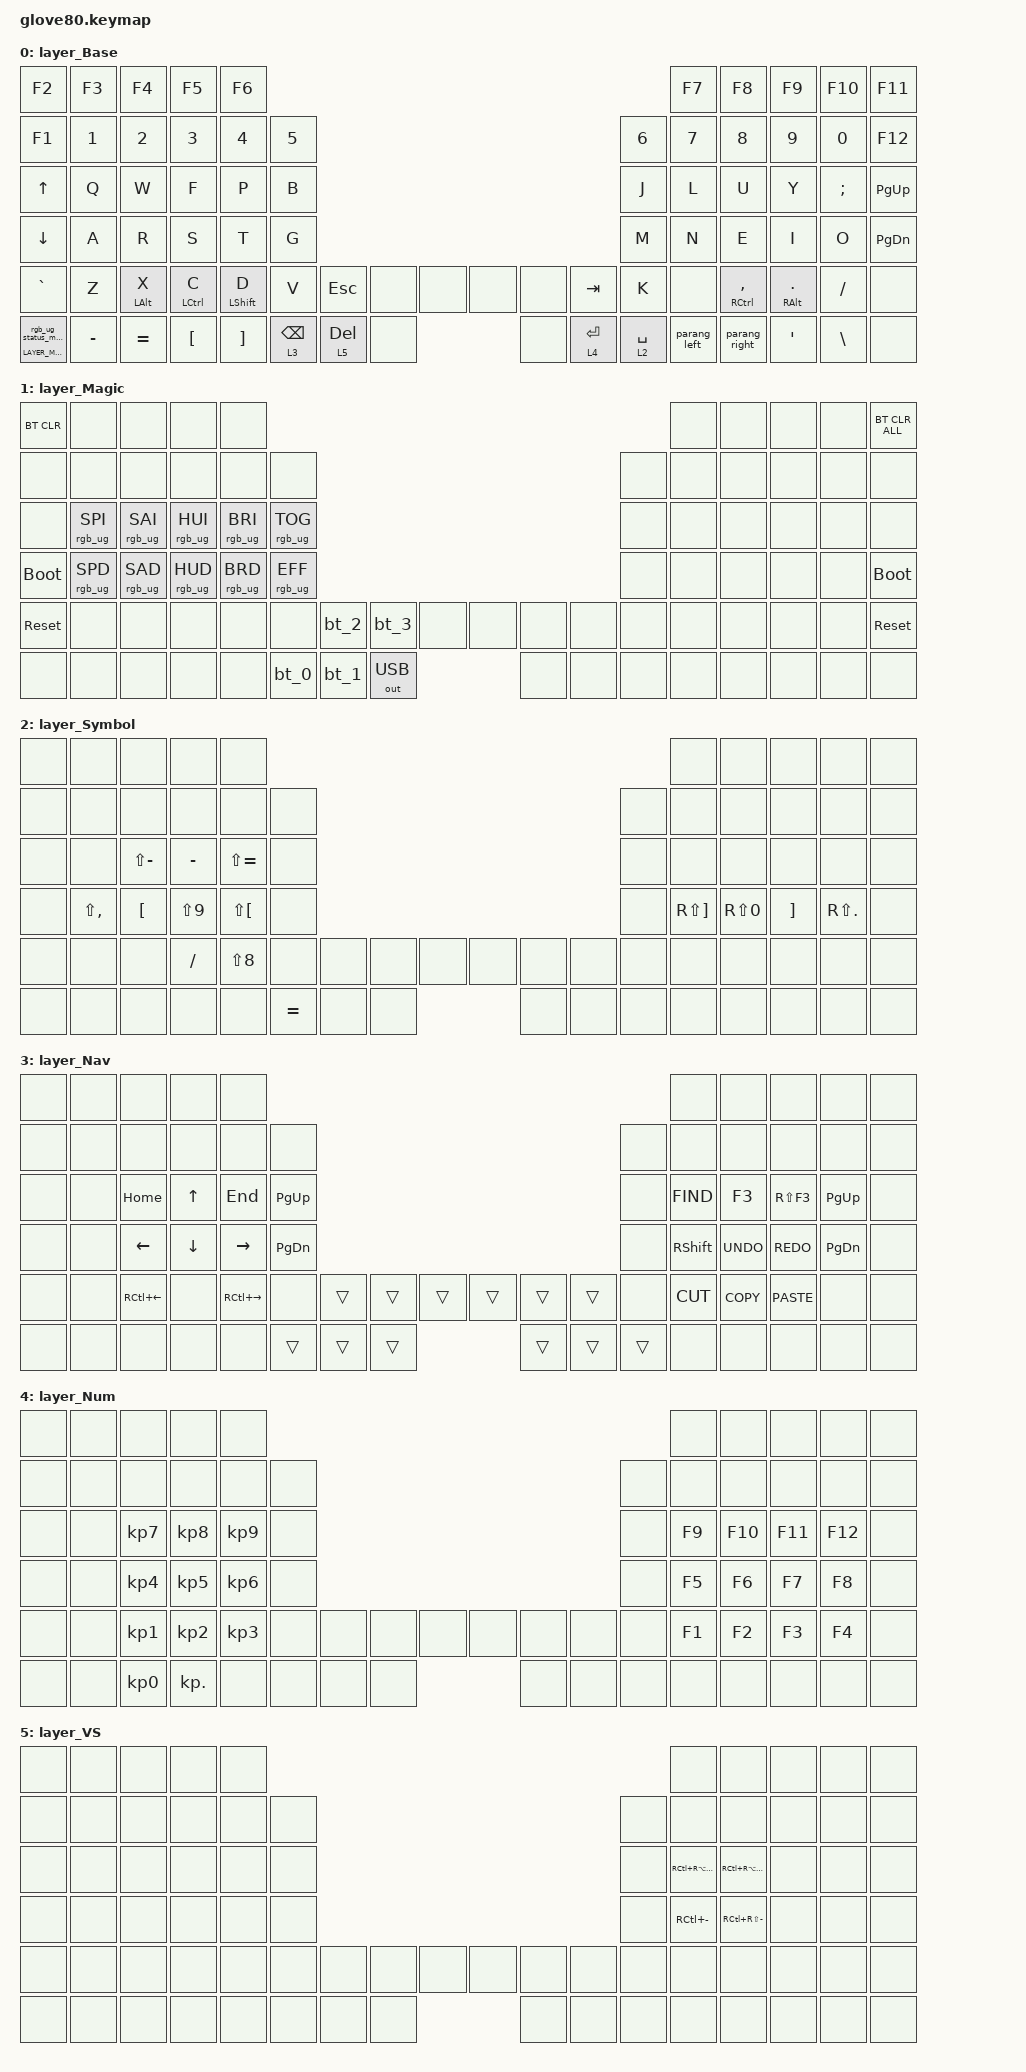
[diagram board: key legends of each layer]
/*
 * Copyright (c) 2020 The ZMK Contributors
 * Copyright (c) 2025 Innaworks Development Limited, trading as MoErgo
 *
 * SPDX-License-Identifier: MIT
 */


/* THIS FILE WAS GENERATED BY GLOVE80 LAYOUT EDITOR
 *
 * This file was generated automatically. You may or may not want to
 * edit it directly.
 */

 #include <behaviors.dtsi>
 /* Include all behavior includes needed */
 #include <dt-bindings/zmk/outputs.h>
 #include <dt-bindings/zmk/keys.h>
 #include <dt-bindings/zmk/bt.h>
 #include <dt-bindings/zmk/rgb.h>
 
 /* On demand includes */
 
 
 /* Automatically generated layer name #define */
 #define LAYER_Base 0
 #define LAYER_Magic 1
 #define LAYER_Symbol 2
 #define LAYER_Nav 3
 #define LAYER_Num 4
 #define LAYER_VS 5
 
 /* To deal with the situation where there is no Lower layer, to keep &lower happy */
 #ifndef LAYER_Lower
 #define LAYER_Lower 0
 #endif
 
 /* Custom Device-tree */
 
 
 /* Input Listeners */
 
 
 /* System behavior and Macros */
 / {
     behaviors {
         // For the "layer" key, it'd nice to be able to use it as either a shift or a toggle.
         // Configure it as a tap dance, so the first tap (or hold) is a &mo and the second tap is a &to
         lower: lower {
             compatible = "zmk,behavior-tap-dance";
             label = "LAYER_TAP_DANCE";
             #binding-cells = <0>;
             tapping-term-ms = <200>;
             bindings = <&mo LAYER_Lower>, <&to LAYER_Lower>;
         };
     };
 };
 
 / {
     macros {
         rgb_ug_status_macro: rgb_ug_status_macro {
             label = "RGB_UG_STATUS";
             compatible = "zmk,behavior-macro";
             #binding-cells = <0>;
             bindings
                 = <&rgb_ug RGB_STATUS>;
         };
     };
 };
 
 
 / {
 #ifdef BT_DISC_CMD
     behaviors {
         bt_0: bt_0 {
             compatible = "zmk,behavior-tap-dance";
             label = "BT_0";
             #binding-cells = <0>;
             tapping-term-ms = <200>;
             bindings = <&bt_select_0>, <&bt BT_DISC 0>;
         };
         bt_1: bt_1 {
             compatible = "zmk,behavior-tap-dance";
             label = "BT_1";
             #binding-cells = <0>;
             tapping-term-ms = <200>;
             bindings = <&bt_select_1>, <&bt BT_DISC 1>;
         };
         bt_2: bt_2 {
             compatible = "zmk,behavior-tap-dance";
             label = "BT_2";
             #binding-cells = <0>;
             tapping-term-ms = <200>;
             bindings = <&bt_select_2>, <&bt BT_DISC 2>;
         };
         bt_3: bt_3 {
             compatible = "zmk,behavior-tap-dance";
             label = "BT_3";
             #binding-cells = <0>;
             tapping-term-ms = <200>;
             bindings = <&bt_select_3>, <&bt BT_DISC 3>;
         };
     };
     macros {
         bt_select_0: bt_select_0 {
             label = "BT_SELECT_0";
             compatible = "zmk,behavior-macro";
             #binding-cells = <0>;
             bindings
                 = <&out OUT_BLE>,
                   <&bt BT_SEL 0>;
         };
         bt_select_1: bt_select_1 {
             label = "BT_SELECT_1";
             compatible = "zmk,behavior-macro";
             #binding-cells = <0>;
             bindings
                 = <&out OUT_BLE>,
                   <&bt BT_SEL 1>;
         };
         bt_select_2: bt_select_2 {
             label = "BT_SELECT_2";
             compatible = "zmk,behavior-macro";
             #binding-cells = <0>;
             bindings
                 = <&out OUT_BLE>,
                   <&bt BT_SEL 2>;
         };
         bt_select_3: bt_select_3 {
             label = "BT_SELECT_3";
             compatible = "zmk,behavior-macro";
             #binding-cells = <0>;
             bindings
                 = <&out OUT_BLE>,
                   <&bt BT_SEL 3>;
         };
     };
 #else
     macros {
         bt_0: bt_0 {
             label = "BT_0";
             compatible = "zmk,behavior-macro";
             #binding-cells = <0>;
             bindings
                 = <&out OUT_BLE>,
                   <&bt BT_SEL 0>;
         };
         bt_1: bt_1 {
             label = "BT_1";
             compatible = "zmk,behavior-macro";
             #binding-cells = <0>;
             bindings
                 = <&out OUT_BLE>,
                   <&bt BT_SEL 1>;
         };
         bt_2: bt_2 {
             label = "BT_2";
             compatible = "zmk,behavior-macro";
             #binding-cells = <0>;
             bindings
                 = <&out OUT_BLE>,
                   <&bt BT_SEL 2>;
         };
         bt_3: bt_3 {
             label = "BT_3";
             compatible = "zmk,behavior-macro";
             #binding-cells = <0>;
             bindings
                 = <&out OUT_BLE>,
                   <&bt BT_SEL 3>;
         };
     };
 #endif
 };
 
 / {
     behaviors {
         magic: magic {
             compatible = "zmk,behavior-hold-tap";
             label = "MAGIC_HOLD_TAP";
             #binding-cells = <2>;
             flavor = "tap-preferred";
             tapping-term-ms = <200>;
             bindings = <&mo>, <&rgb_ug_status_macro>;
         };
     };
 };
 
 /* #define for key positions */
 #define POS_LH_T1 52
 #define POS_LH_T2 53
 #define POS_LH_T3 54
 #define POS_LH_T4 69
 #define POS_LH_T5 70
 #define POS_LH_T6 71
 #define POS_LH_C1R2 15
 #define POS_LH_C1R3 27
 #define POS_LH_C1R4 39
 #define POS_LH_C1R5 51
 #define POS_LH_C2R1 4
 #define POS_LH_C2R2 14
 #define POS_LH_C2R3 26
 #define POS_LH_C2R4 38
 #define POS_LH_C2R5 50
 #define POS_LH_C2R6 68
 #define POS_LH_C3R1 3
 #define POS_LH_C3R2 13
 #define POS_LH_C3R3 25
 #define POS_LH_C3R4 37
 #define POS_LH_C3R5 49
 #define POS_LH_C3R6 67
 #define POS_LH_C4R1 2
 #define POS_LH_C4R2 12
 #define POS_LH_C4R3 24
 #define POS_LH_C4R4 36
 #define POS_LH_C4R5 48
 #define POS_LH_C4R6 66
 #define POS_LH_C5R1 1
 #define POS_LH_C5R2 11
 #define POS_LH_C5R3 23
 #define POS_LH_C5R4 35
 #define POS_LH_C5R5 47
 #define POS_LH_C5R6 65
 #define POS_LH_C6R1 0
 #define POS_LH_C6R2 10
 #define POS_LH_C6R3 22
 #define POS_LH_C6R4 34
 #define POS_LH_C6R5 46
 #define POS_LH_C6R6 64

#define POS_RH_T1 57
 #define POS_RH_T2 56
 #define POS_RH_T3 55
 #define POS_RH_T4 74
 #define POS_RH_T5 73
 #define POS_RH_T6 72
 #define POS_RH_C1R2 16
 #define POS_RH_C1R3 28
 #define POS_RH_C1R4 40
 #define POS_RH_C1R5 58
 #define POS_RH_C2R1 5
 #define POS_RH_C2R2 17
 #define POS_RH_C2R3 29
 #define POS_RH_C2R4 41
 #define POS_RH_C2R5 59
 #define POS_RH_C2R6 75
 #define POS_RH_C3R1 6
 #define POS_RH_C3R2 18
 #define POS_RH_C3R3 30
 #define POS_RH_C3R4 42
 #define POS_RH_C3R5 60
 #define POS_RH_C3R6 76
 #define POS_RH_C4R1 7
 #define POS_RH_C4R2 19
 #define POS_RH_C4R3 31
 #define POS_RH_C4R4 43
 #define POS_RH_C4R5 61
 #define POS_RH_C4R6 77
 #define POS_RH_C5R1 8
 #define POS_RH_C5R2 20
 #define POS_RH_C5R3 32
 #define POS_RH_C5R4 44
 #define POS_RH_C5R5 62
 #define POS_RH_C5R6 78
 #define POS_RH_C6R1 9
 #define POS_RH_C6R2 21
 #define POS_RH_C6R3 33
 #define POS_RH_C6R4 45
 #define POS_RH_C6R5 63
 #define POS_RH_C6R6 79

 #define KEYS_LEFT POS_LH_T1 POS_LH_T2 POS_LH_T3 POS_LH_T4 POS_LH_T5 POS_LH_T6 POS_LH_C1R2 POS_LH_C1R3 POS_LH_C1R4 POS_LH_C1R5 POS_LH_C2R1 POS_LH_C2R2 POS_LH_C2R3 POS_LH_C2R4 POS_LH_C2R5 POS_LH_C2R6 POS_LH_C3R1 POS_LH_C3R2 POS_LH_C3R3 POS_LH_C3R4 POS_LH_C3R5 POS_LH_C3R6 POS_LH_C4R1 POS_LH_C4R2 POS_LH_C4R3 POS_LH_C4R4 POS_LH_C4R5 POS_LH_C4R6 POS_LH_C5R1 POS_LH_C5R2 POS_LH_C5R3 POS_LH_C5R4 POS_LH_C5R5 POS_LH_C5R6 POS_LH_C6R1 POS_LH_C6R2 POS_LH_C6R3 POS_LH_C6R4 POS_LH_C6R5 POS_LH_C6R6 
 #define KEYS_RIGHT POS_RH_T1 POS_RH_T2 POS_RH_T3 POS_RH_T4 POS_RH_T5 POS_RH_T6 POS_RH_C1R2 POS_RH_C1R3 POS_RH_C1R4 POS_RH_C1R5 POS_RH_C2R1 POS_RH_C2R2 POS_RH_C2R3 POS_RH_C2R4 POS_RH_C2R5 POS_RH_C2R6 POS_RH_C3R1 POS_RH_C3R2 POS_RH_C3R3 POS_RH_C3R4 POS_RH_C3R5 POS_RH_C3R6 POS_RH_C4R1 POS_RH_C4R2 POS_RH_C4R3 POS_RH_C4R4 POS_RH_C4R5 POS_RH_C4R6 POS_RH_C5R1 POS_RH_C5R2 POS_RH_C5R3 POS_RH_C5R4 POS_RH_C5R5 POS_RH_C5R6 POS_RH_C6R1 POS_RH_C6R2 POS_RH_C6R3 POS_RH_C6R4 POS_RH_C6R5 POS_RH_C6R6  

 
 /* Custom Defined Behaviors */
 / {
 behaviors {
    hml: home_row_mod_left {
        compatible = "zmk,behavior-hold-tap";
        #binding-cells = <2>;
        flavor = "balanced";
        require-prior-idle-ms = <150>;
        tapping-term-ms = <280>;
        quick-tap-ms = <175>;
        bindings = <&kp>, <&kp>;
        hold-trigger-key-positions = < KEYS_RIGHT >; // List of keys on the right side of the keyboard
        hold-trigger-on-release;
    };

    hmr: home_row_mod_right {
        compatible = "zmk,behavior-hold-tap";
        #binding-cells = <2>;
        flavor = "balanced";
        require-prior-idle-ms = <150>;
        tapping-term-ms = <280>;
        quick-tap-ms = <175>;
        bindings = <&kp>, <&kp>;
        hold-trigger-key-positions = < KEYS_LEFT >; // List of keys on the right side of the keyboard
        hold-trigger-on-release;
    };

   //
   // Shift + LEFT_PARENTHESIS = LESS_THAN
   //
   parang_left: left_parenthesis_and_less_than {
     compatible = "zmk,behavior-mod-morph";
     #binding-cells = <0>;
     bindings = <&kp LPAR>, <&kp LT>;
     mods = <(MOD_LSFT|MOD_RSFT)>;
   };
 
   //
   // Shift + RIGHT_PARENTHESIS = GREATER_THAN
   //
   parang_right: right_parenthesis_and_greater_than {
     compatible = "zmk,behavior-mod-morph";
     #binding-cells = <0>;
     bindings = <&kp RPAR>, <&kp GT>;
     mods = <(MOD_LSFT|MOD_RSFT)>;
   };
 };
 };
 
 /* Automatically generated macro definitions */
 / {
     macros {
 
     };
 };
 
 /* Automatically generated behavior definitions */
 / {
     behaviors {
 
     };
 };
 
 /* Automatically generated combos definitions */
 
 
 /* Automatically generated keymap */
 / {
     keymap {
         compatible = "zmk,keymap";
 
 
         layer_Base {
             bindings = <
                &kp F2     &kp F3      &kp F4       &kp F5       &kp F6                                                                                       &kp F7           &kp F8        &kp F9   &kp F10    &kp F11
                &kp F1     &kp N1      &kp N2       &kp N3       &kp N4  &kp N5                                                                 &kp N6        &kp N7           &kp N8        &kp N9    &kp N0    &kp F12
                &kp UP      &kp Q       &kp W        &kp F        &kp P   &kp B                                                                  &kp J         &kp L            &kp U         &kp Y  &kp SEMI  &kp PG_UP
              &kp DOWN      &kp A       &kp R        &kp S        &kp T   &kp G                                                                  &kp M         &kp N            &kp E         &kp I     &kp O  &kp PG_DN
             &kp GRAVE      &kp Z  &mt LALT X  &mt LCTRL C  &mt LSHFT D   &kp V     &kp ESC      &none   &none   &none      &none      &kp TAB   &kp K         &none  &mt RCTRL COMMA  &mt RALT DOT  &kp FSLH      &none
  &magic LAYER_Magic 0  &kp MINUS   &kp EQUAL     &kp LBKT     &kp RBKT          &lt 3 BSPC  &lt 5 DEL   &none   &none  &lt 4 RET  &lt 2 SPACE          &parang_left    &parang_right       &kp SQT  &kp BSLH      &none
             >;
         };
 
         layer_Magic {
             bindings = <
   &bt BT_CLR            &none            &none            &none            &none                                                                                  &none   &none   &none   &none  &bt BT_CLR_ALL
        &none            &none            &none            &none            &none            &none                                                         &none   &none   &none   &none   &none           &none
        &none  &rgb_ug RGB_SPI  &rgb_ug RGB_SAI  &rgb_ug RGB_HUI  &rgb_ug RGB_BRI  &rgb_ug RGB_TOG                                                         &none   &none   &none   &none   &none           &none
  &bootloader  &rgb_ug RGB_SPD  &rgb_ug RGB_SAD  &rgb_ug RGB_HUD  &rgb_ug RGB_BRD  &rgb_ug RGB_EFF                                                         &none   &none   &none   &none   &none     &bootloader
   &sys_reset            &none            &none            &none            &none            &none   &bt_2   &bt_3         &none   &none   &none   &none   &none   &none   &none   &none   &none      &sys_reset
        &none            &none            &none            &none            &none                    &bt_0   &bt_1  &out OUT_USB   &none   &none   &none           &none   &none   &none   &none           &none
             >;
         };
 
         layer_Symbol {
             bindings = <
   &none          &none          &none       &none          &none                                                                            &none       &none     &none        &none   &none
   &none          &none          &none       &none          &none   &none                                                      &none         &none       &none     &none        &none   &none
   &none          &none  &kp LS(MINUS)   &kp MINUS  &kp LS(EQUAL)   &none                                                      &none         &none       &none     &none        &none   &none
   &none  &kp LS(COMMA)       &kp LBKT  &kp LS(N9)   &kp LS(LBKT)   &none                                                      &none  &kp RS(RBKT)  &kp RS(N0)  &kp RBKT  &kp RS(DOT)   &none
   &none          &none          &none    &kp FSLH     &kp LS(N8)   &none      &none   &none   &none   &none   &none   &none   &none         &none       &none     &none        &none   &none
   &none          &none          &none       &none          &none          &kp EQUAL   &none   &none   &none   &none   &none                 &none       &none     &none        &none   &none
             >;
         };
 
         layer_Nav {
             bindings = <
   &none   &none         &none     &none          &none                                                                          &none       &none        &none      &none   &none
   &none   &none         &none     &none          &none      &none                                                   &none       &none       &none        &none      &none   &none
   &none   &none      &kp HOME    &kp UP        &kp END  &kp PG_UP                                                   &none  &kp K_FIND      &kp F3   &kp RS(F3)  &kp PG_UP   &none
   &none   &none      &kp LEFT  &kp DOWN      &kp RIGHT  &kp PG_DN                                                   &none   &kp RSHFT  &kp K_UNDO   &kp K_REDO  &kp PG_DN   &none
   &none   &none  &kp RC(LEFT)     &none  &kp RC(RIGHT)      &none  &trans  &trans  &trans  &trans  &trans  &trans   &none   &kp K_CUT  &kp K_COPY  &kp K_PASTE      &none   &none
   &none   &none         &none     &none          &none             &trans  &trans  &trans  &trans  &trans  &trans               &none       &none        &none      &none   &none
             >;
         };
 
         layer_Num {
             bindings = <
   &none   &none      &none       &none      &none                                                                   &none    &none    &none    &none   &none
   &none   &none      &none       &none      &none   &none                                                   &none   &none    &none    &none    &none   &none
   &none   &none  &kp KP_N7   &kp KP_N8  &kp KP_N9   &none                                                   &none  &kp F9  &kp F10  &kp F11  &kp F12   &none
   &none   &none  &kp KP_N4   &kp KP_N5  &kp KP_N6   &none                                                   &none  &kp F5   &kp F6   &kp F7   &kp F8   &none
   &none   &none  &kp KP_N1   &kp KP_N2  &kp KP_N3   &none   &none   &none   &none   &none   &none   &none   &none  &kp F1   &kp F2   &kp F3   &kp F4   &none
   &none   &none  &kp KP_N0  &kp KP_DOT      &none           &none   &none   &none   &none   &none   &none           &none    &none    &none    &none   &none
             >;
         };
 
         layer_VS {
             bindings = <
   &none   &none   &none   &none   &none                                                                              &none              &none   &none   &none   &none
   &none   &none   &none   &none   &none   &none                                                   &none              &none              &none   &none   &none   &none
   &none   &none   &none   &none   &none   &none                                                   &none  &kp RC(RA(PG_UP))  &kp RC(RA(PG_DN))   &none   &none   &none
   &none   &none   &none   &none   &none   &none                                                   &none      &kp RC(MINUS)  &kp RC(RS(MINUS))   &none   &none   &none
   &none   &none   &none   &none   &none   &none   &none   &none   &none   &none   &none   &none   &none              &none              &none   &none   &none   &none
   &none   &none   &none   &none   &none           &none   &none   &none   &none   &none   &none                      &none              &none   &none   &none   &none
             >;
         };
 
     };
 };
 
